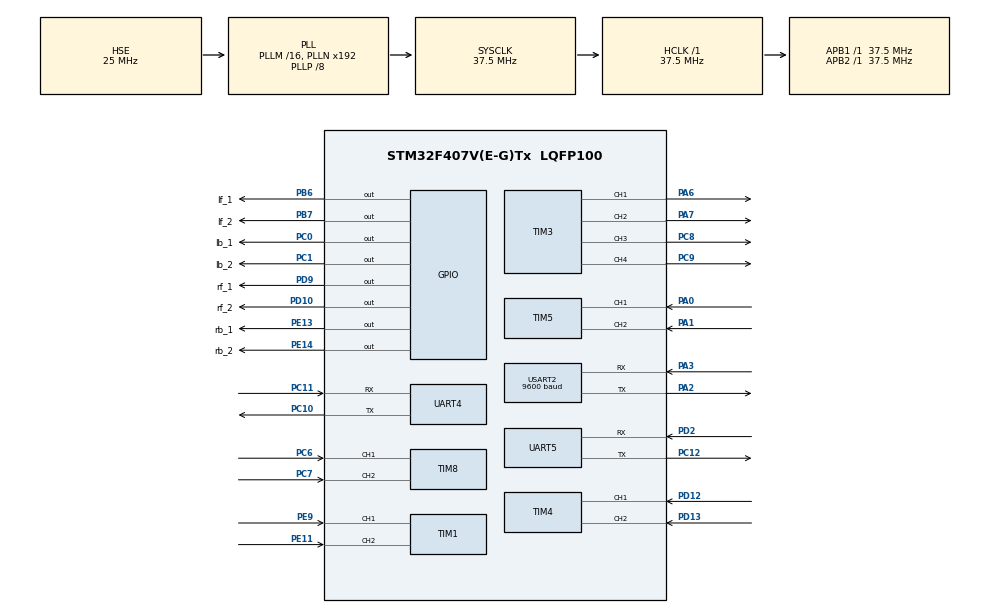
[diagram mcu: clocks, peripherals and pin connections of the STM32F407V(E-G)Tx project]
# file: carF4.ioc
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Dma.Request0=UART4_RX
Dma.Request1=UART5_RX
Dma.UART4_RX.0.Direction=DMA_PERIPH_TO_MEMORY
Dma.UART4_RX.0.FIFOMode=DMA_FIFOMODE_DISABLE
Dma.UART4_RX.0.Instance=DMA1_Stream2
Dma.UART4_RX.0.MemDataAlignment=DMA_MDATAALIGN_BYTE
Dma.UART4_RX.0.MemInc=DMA_MINC_ENABLE
Dma.UART4_RX.0.Mode=DMA_NORMAL
Dma.UART4_RX.0.PeriphDataAlignment=DMA_PDATAALIGN_BYTE
Dma.UART4_RX.0.PeriphInc=DMA_PINC_DISABLE
Dma.UART4_RX.0.Priority=DMA_PRIORITY_LOW
Dma.UART5_RX.1.Direction=DMA_PERIPH_TO_MEMORY
Dma.UART5_RX.1.FIFOMode=DMA_FIFOMODE_DISABLE
Dma.UART5_RX.1.Instance=DMA1_Stream0
Dma.UART5_RX.1.MemDataAlignment=DMA_MDATAALIGN_BYTE
Dma.UART5_RX.1.MemInc=DMA_MINC_ENABLE
Dma.UART5_RX.1.Mode=DMA_NORMAL
Dma.UART5_RX.1.PeriphDataAlignment=DMA_PDATAALIGN_BYTE
Dma.UART5_RX.1.PeriphInc=DMA_PINC_DISABLE
Dma.UART5_RX.1.Priority=DMA_PRIORITY_LOW
Mcu.Family=STM32F4
Mcu.Name=STM32F407V(E-G)Tx
Mcu.Package=LQFP100
NVIC.DMA1_Stream0_IRQn=true\:0\:0\:false\:false\:true\:false\:true\:true
NVIC.DMA1_Stream2_IRQn=true\:0\:0\:false\:false\:true\:false\:true\:true
NVIC.PriorityGroup=NVIC_PRIORITYGROUP_4
PA0-WKUP.Signal=S_TIM5_CH1
PA1.Signal=S_TIM5_CH2
PA13.Mode=Serial_Wire
PA13.Signal=SYS_JTMS-SWDIO
PA14.Mode=Serial_Wire
PA14.Signal=SYS_JTCK-SWCLK
PA2.Mode=Asynchronous
PA2.Signal=USART2_TX
PA3.Mode=Asynchronous
PA3.Signal=USART2_RX
PA6.Signal=S_TIM3_CH1
PA7.Signal=S_TIM3_CH2
PB6.GPIO_Label=lf_1
PB6.Signal=GPIO_Output
PB7.GPIO_Label=lf_2
PB7.Signal=GPIO_Output
PC0.GPIO_Label=lb_1
PC0.Signal=GPIO_Output
PC1.GPIO_Label=lb_2
PC1.Signal=GPIO_Output
PC10.Mode=Asynchronous
PC10.Signal=UART4_TX
PC11.Mode=Asynchronous
PC11.Signal=UART4_RX
PC12.Mode=Asynchronous
PC12.Signal=UART5_TX
PC6.Signal=S_TIM8_CH1
PC7.Signal=S_TIM8_CH2
PC8.Signal=S_TIM3_CH3
PC9.Signal=S_TIM3_CH4
PD10.GPIO_Label=rf_2
PD10.Signal=GPIO_Output
PD12.Signal=S_TIM4_CH1
PD13.Signal=S_TIM4_CH2
PD2.Mode=Asynchronous
PD2.Signal=UART5_RX
PD9.GPIO_Label=rf_1
PD9.Signal=GPIO_Output
PE11.Signal=S_TIM1_CH2
PE13.GPIO_Label=rb_1
PE13.Signal=GPIO_Output
PE14.GPIO_Label=rb_2
PE14.Signal=GPIO_Output
PE9.Signal=S_TIM1_CH1
PH0-OSC_IN.Mode=HSE-External-Oscillator
PH0-OSC_IN.Signal=RCC_OSC_IN
PH1-OSC_OUT.Mode=HSE-External-Oscillator
PH1-OSC_OUT.Signal=RCC_OSC_OUT
ProjectManager.HeapSize=0x200
ProjectManager.StackSize=0x400
ProjectManager.TargetToolchain=Makefile
RCC.48MHZClocksFreq_Value=75000000
RCC.AHBFreq_Value=37500000
RCC.APB1Freq_Value=37500000
RCC.APB1TimFreq_Value=37500000
RCC.APB2Freq_Value=37500000
RCC.APB2TimFreq_Value=37500000
RCC.CortexFreq_Value=37500000
RCC.HCLKFreq_Value=37500000
RCC.HSE_VALUE=25000000
RCC.HSI_VALUE=16000000
RCC.LSE_VALUE=32768
RCC.PLLP=RCC_PLLP_DIV8
RCC.PLLSourceVirtual=RCC_PLLSOURCE_HSE
RCC.SYSCLKFreq_VALUE=37500000
RCC.SYSCLKSource=RCC_SYSCLKSOURCE_PLLCLK
RCC.VCOOutputFreq_Value=300000000
SH.S_TIM1_CH1.0=TIM1_CH1,Encoder_Interface
SH.S_TIM1_CH2.0=TIM1_CH2,Encoder_Interface
SH.S_TIM3_CH1.0=TIM3_CH1,PWM Generation1 CH1
SH.S_TIM3_CH2.0=TIM3_CH2,PWM Generation2 CH2
SH.S_TIM3_CH3.0=TIM3_CH3,PWM Generation3 CH3
SH.S_TIM3_CH4.0=TIM3_CH4,PWM Generation4 CH4
SH.S_TIM4_CH1.0=TIM4_CH1,Encoder_Interface
SH.S_TIM4_CH2.0=TIM4_CH2,Encoder_Interface
SH.S_TIM5_CH1.0=TIM5_CH1,Encoder_Interface
SH.S_TIM5_CH2.0=TIM5_CH2,Encoder_Interface
SH.S_TIM8_CH1.0=TIM8_CH1,Encoder_Interface
SH.S_TIM8_CH2.0=TIM8_CH2,Encoder_Interface
TIM1.EncoderMode=TIM_ENCODERMODE_TI12
TIM3.Channel-PWM\ Generation1\ CH1=TIM_CHANNEL_1
TIM3.Channel-PWM\ Generation2\ CH2=TIM_CHANNEL_2
TIM3.Channel-PWM\ Generation3\ CH3=TIM_CHANNEL_3
TIM3.Channel-PWM\ Generation4\ CH4=TIM_CHANNEL_4
TIM4.EncoderMode=TIM_ENCODERMODE_TI12
TIM5.EncoderMode=TIM_ENCODERMODE_TI12
UART4.VirtualMode=Asynchronous
UART5.VirtualMode=Asynchronous
USART2.BaudRate=9600
USART2.VirtualMode=VM_ASYNC
board=custom

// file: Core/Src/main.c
/* USER CODE BEGIN Header */
/**
  ******************************************************************************
  * @file           : main.c
  * @brief          : Main program body
  ******************************************************************************
  * @attention
  *
  * Copyright (c) 2023 STMicroelectronics.
  * All rights reserved.
  *
  * This software is licensed under terms that can be found in the LICENSE file
  * in the root directory of this software component.
  * If no LICENSE file comes with this software, it is provided AS-IS.
  *
  ******************************************************************************
  */
/* USER CODE END Header */
#include "main.h"
#include "dma.h"
#include "tim.h"
#include "usart.h"
#include "gpio.h"

/* USER CODE BEGIN Includes */
#include "pid.h"
#include "zigbee_edc24.h"
#include "jy62.h"
#include <stdlib.h>
#include "inverse_kinematics.h"
/* USER CODE END Includes */

void SystemClock_Config(void);

/* USER CODE BEGIN 0 */
wheel_obj wheel_lb, wheel_rb, wheel_lf, wheel_rf;
extern uint8_t jy62_flag;
/* USER CODE END 0 */

int main(void)
{

  /* MCU Configuration--------------------------------------------------------*/

  /* Reset of all peripherals, Initializes the Flash interface and the Systick. */
  HAL_Init();

  /* Configure the system clock */
  SystemClock_Config();

  /* Initialize all configured peripherals */
  MX_GPIO_Init();
  MX_DMA_Init();
  MX_TIM1_Init();
  MX_TIM3_Init();
  MX_TIM4_Init();
  MX_TIM5_Init();
  MX_UART4_Init();
  MX_UART5_Init();
  MX_TIM8_Init();
  MX_USART2_UART_Init();
  /* USER CODE BEGIN 2 */
  wheel_init(&wheel_lb, &htim3, TIM_CHANNEL_1, lb_1_Pin, lb_2_Pin, lb_1_GPIO_Port, &htim5);
  wheel_init(&wheel_rb, &htim3, TIM_CHANNEL_2, rb_1_Pin, rb_2_Pin, rb_1_GPIO_Port, &htim1);
  wheel_init(&wheel_lf, &htim3, TIM_CHANNEL_4, lf_1_Pin, lf_2_Pin, lf_1_GPIO_Port, &htim8);
  wheel_init(&wheel_rf, &htim3, TIM_CHANNEL_3, rf_1_Pin, rf_2_Pin, rf_1_GPIO_Port, &htim4);

  uint32_t time_last = HAL_GetTick();
  angVel_s act_angVel = {0, 0, 0, 0};
  angVel_s set_angVel = {0, 0, 0, 0};
  vel_s set_vel = {0, 0.1, 0};
  vel_s act_vel = {0, 0, 0};
  /* USER CODE END 2 */

  /* Infinite loop */
  /* USER CODE BEGIN WHILE */
  while (1)
  {
    if (HAL_GetTick() - time_last > 100)
    {
      act_angVel.w_lf = wheel_getVel(&wheel_lf);
      //act_angVel.w_rf = wheel_getVel(&wheel_rf);
      //act_angVel.w_lb = wheel_getVel(&wheel_lb);
      //act_angVel.w_rb = wheel_getVel(&wheel_rb);
      u1_printf("%f,%f\n", act_angVel.w_lb, set_angVel.w_lb);
      time_last = HAL_GetTick();
      wheel_pwm(&wheel_lf, set_angVel.w_lf - act_angVel.w_lf);
    }
    /* USER CODE END WHILE */

  }
}

void SystemClock_Config(void)
{
  RCC_OscInitTypeDef RCC_OscInitStruct = {0};
  RCC_ClkInitTypeDef RCC_ClkInitStruct = {0};

  /** Configure the main internal regulator output voltage
  */
  __HAL_RCC_PWR_CLK_ENABLE();
  __HAL_PWR_VOLTAGESCALING_CONFIG(PWR_REGULATOR_VOLTAGE_SCALE1);

  /** Initializes the RCC Oscillators according to the specified parameters
  * in the RCC_OscInitTypeDef structure.
  */
  RCC_OscInitStruct.OscillatorType = RCC_OSCILLATORTYPE_HSE;
  RCC_OscInitStruct.HSEState = RCC_HSE_ON;
  RCC_OscInitStruct.PLL.PLLState = RCC_PLL_ON;
  RCC_OscInitStruct.PLL.PLLSource = RCC_PLLSOURCE_HSE;
  RCC_OscInitStruct.PLL.PLLM = 16;
  RCC_OscInitStruct.PLL.PLLN = 192;
  RCC_OscInitStruct.PLL.PLLP = RCC_PLLP_DIV8;
  RCC_OscInitStruct.PLL.PLLQ = 4;
  if (HAL_RCC_OscConfig(&RCC_OscInitStruct) != HAL_OK)
  {
    Error_Handler();
  }

  /** Initializes the CPU, AHB and APB buses clocks
  */
  RCC_ClkInitStruct.ClockType = RCC_CLOCKTYPE_HCLK|RCC_CLOCKTYPE_SYSCLK
                              |RCC_CLOCKTYPE_PCLK1|RCC_CLOCKTYPE_PCLK2;
  RCC_ClkInitStruct.SYSCLKSource = RCC_SYSCLKSOURCE_PLLCLK;
  RCC_ClkInitStruct.AHBCLKDivider = RCC_SYSCLK_DIV1;
  RCC_ClkInitStruct.APB1CLKDivider = RCC_HCLK_DIV1;
  RCC_ClkInitStruct.APB2CLKDivider = RCC_HCLK_DIV1;

  if (HAL_RCC_ClockConfig(&RCC_ClkInitStruct, FLASH_LATENCY_1) != HAL_OK)
  {
    Error_Handler();
  }
}

void Error_Handler(void)
{
  __disable_irq();
  while (1)
  {
  }
}
